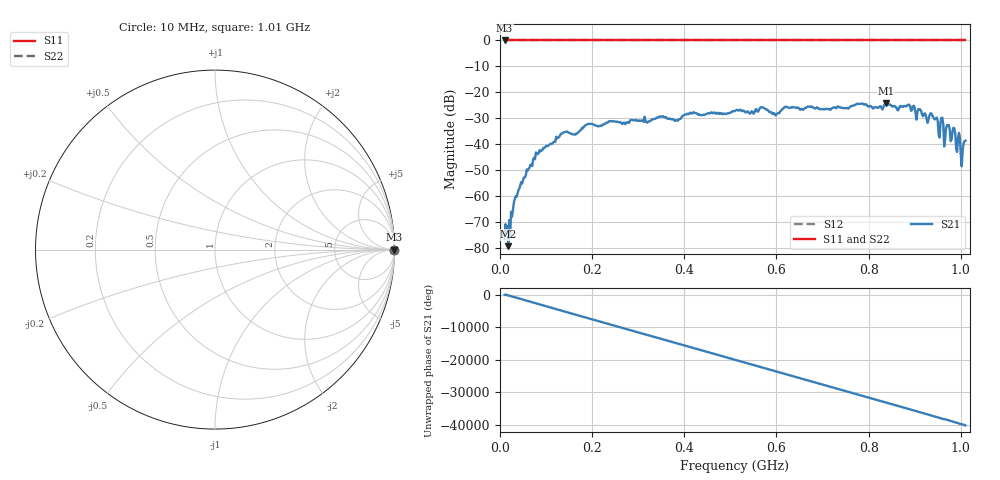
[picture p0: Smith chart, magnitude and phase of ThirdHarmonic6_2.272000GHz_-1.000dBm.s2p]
! 8/17/2025 2:53:06 AM
! C:\ANRITSUVNA\TEMP\TEMP.S2P
! CHANNEL.1
! TR.MEASUREMENT
! RAW.DATA
! RF.CORRECTION.OFF
! AVERAGING.OFF
! IF.BANDWIDTH: 5KHZ
! SWEEPTYPE:  FREQ.SWEEP(Linear)
! Reference Plane Port Info
! PORT:  PORT1  PORT2
! DISTANCE:  0  m  0  m
! TIME:  0  s  0  s
! PHASE.OFFSET:  0  deg.  0  deg.
! LOSS:  0  dB  0  dB
! REF.LOSS:  0  dB  0  dB
! REF.FREQ:  0  Hz  0  Hz
! Power Info
! POWER:  -20  dBm  -20  dBm
! EFF.POWER:  -20  dBm  -20  dBm
! SOURCE.ATTEN:  0  dB  0  dB
! TEST.ATTEN:  0  dB  0  dB
# GHZ S RI R 50.0
! FREQ.GHZ  S11RE  S11IM  S21RE  S21IM  S12RE  S12IM  S22RE  S22IM
!; PortSelection: Port_12
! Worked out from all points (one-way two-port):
!   501 points, 10 MHz to 1.01 GHz, reference 50 ohm
!   highest |S21| = -24.16 dB at 838 MHz (marker M1); lowest = -79.4 dB at 18 MHz (marker M2)
!   lowest |S11| = 0.0 dB at 10 MHz (marker M3)
!   |S11| at or under -10 dB: nowhere
!   |S22| runs from 0.0 to 0.0 dB; largest |S21 - S12| = 1.1
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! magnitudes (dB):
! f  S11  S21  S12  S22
! 10 MHz  0.0  -76.7  0.0  0.0
! 18 MHz  0.0  -79.4  0.0  0.0
! 34 MHz  0.0  -60.1  0.0  0.0
! 76 MHz  0.0  -45.8  0.0  0.0
! 136 MHz  0.0  -35.7  0.0  0.0
! 178 MHz  0.0  -33.7  0.0  0.0
! 344 MHz  0.0  -29.6  0.0  0.0
! 382 MHz  0.0  -30.8  0.0  0.0
! 416 MHz  0.0  -28.2  0.0  0.0
! 510 MHz  0.0  -27.2  0.0  0.0
! 570 MHz  0.0  -25.9  0.0  0.0
! 596 MHz  0.0  -28.4  0.0  0.0
! 620 MHz  0.0  -25.6  0.0  0.0
! 678 MHz  0.0  -25.6  0.0  0.0
! 838 MHz  0.0  -24.2  0.0  0.0
! 844 MHz  0.0  -24.7  0.0  0.0
! 936 MHz  0.0  -28.2  0.0  0.0
! 966 MHz  0.0  -38.1  0.0  0.0
! 972 MHz  0.0  -32.6  0.0  0.0
! 984 MHz  0.0  -33.7  0.0  0.0
! 1.004 GHz  0.0  -42.6  0.0  0.0
! 1.01 GHz  0.0  -38.7  0.0  0.0
